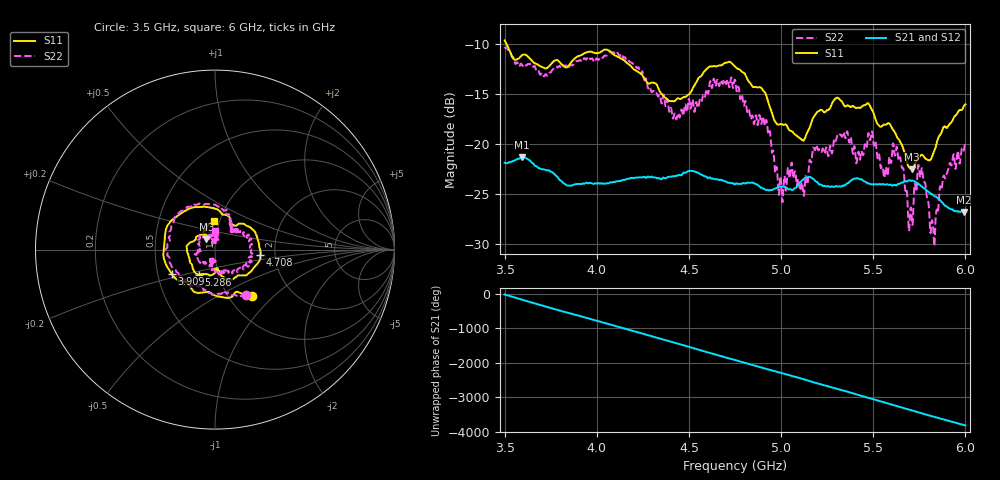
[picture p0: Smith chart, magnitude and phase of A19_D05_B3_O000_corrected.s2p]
! Created with skrf 1.9.0 (http://scikit-rf.org).
# Hz S RI R 50.0
!freq ReS11 ImS11 ReS21 ImS21 ReS12 ImS12 ReS22 ImS22
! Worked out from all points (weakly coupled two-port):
!   1601 points, 3.5 GHz to 6 GHz, reference 50 ohm
!   highest |S21| = -21.35 dB at 3.594 GHz (marker M1); lowest = -26.8 dB at 5.994 GHz (marker M2)
!   lowest |S11| = -22.6 dB at 5.709 GHz (marker M3), VSWR 1.16, Z = 45.2 + j5.19 ohm
!   |S11| at or under -10 dB: 3.511 GHz to end of sweep
!   |S22| runs from -30.3 to -10.3 dB; largest |S21 - S12| = 0.0009
!   S11 on the Smith chart (normalised r, x): 3.5 GHz: 1.27, -0.74; 3.909 GHz: 0.59, -0.17; 4.708 GHz: 1.67, -0.11; 5.286 GHz: 0.81, -0.23; 6 GHz: 0.94, +0.30
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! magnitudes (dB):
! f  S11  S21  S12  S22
! 3.5 GHz  -9.7  -21.9  -21.9  -10.3
! 3.594 GHz  -11.1  -21.4  -21.4  -12.1
! 3.909 GHz  -11.2  -24.0  -24.0  -11.6
! 3.917 GHz  -11.1  -24.0  -24.0  -11.7
! 4.125 GHz  -11.4  -23.7  -23.7  -11.2
! 4.334 GHz  -14.4  -23.4  -23.4  -15.3
! 4.439 GHz  -15.4  -23.2  -23.1  -17.0
! 4.708 GHz  -11.9  -23.9  -23.8  -13.6
! 4.75 GHz  -12.3  -24.0  -24.0  -13.6
! 4.928 GHz  -15.7  -24.6  -24.6  -18.8
! 4.998 GHz  -18.0  -24.3  -24.3  -23.5
! 5.116 GHz  -19.6  -23.6  -23.6  -24.1
! 5.167 GHz  -17.7  -23.4  -23.4  -21.4
! 5.286 GHz  -15.7  -24.3  -24.3  -19.7
! 5.484 GHz  -16.3  -24.0  -24.0  -19.6
! 5.584 GHz  -17.9  -24.1  -24.1  -21.8
! 5.636 GHz  -19.5  -24.0  -24.0  -21.6
! 5.709 GHz  -22.6  -23.7  -23.6  -27.5
! 5.755 GHz  -21.2  -24.1  -24.1  -23.3
! 5.823 GHz  -21.1  -25.1  -25.1  -28.0
! 5.994 GHz  -16.2  -26.8  -26.8  -20.4
! 6 GHz  -16.1  -26.8  -26.8  -19.8
